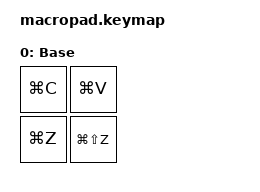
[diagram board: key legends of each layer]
#include <behaviors.dtsi>
#include <dt-bindings/zmk/keys.h>
#include <dt-bindings/zmk/bt.h>

/ {
    keymap {
        compatible = "zmk,keymap";
        default_layer {
            display-name = "Base";
            // order = pin order above: key0 key1 / key2 key3
            bindings = <
                &kp LG(C)   &kp LG(V)
                &kp LG(Z)   &kp LG(LS(Z))
            >;
        };
    };
};
